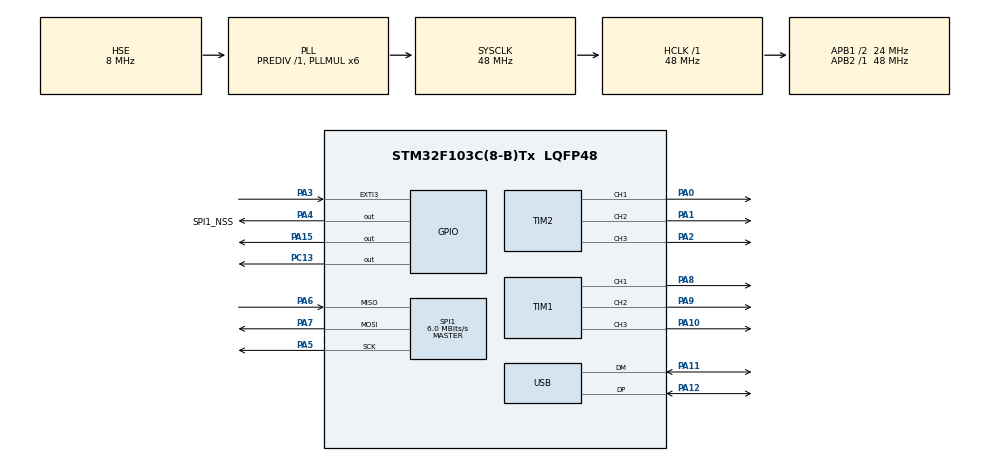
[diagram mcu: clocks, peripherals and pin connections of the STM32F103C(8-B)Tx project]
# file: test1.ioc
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Mcu.Family=STM32F1
Mcu.Name=STM32F103C(8-B)Tx
Mcu.Package=LQFP48
NVIC.EXTI3_IRQn=true\:0\:0\:false\:false\:true\:true\:true
NVIC.PriorityGroup=NVIC_PRIORITYGROUP_4
NVIC.TIM1_CC_IRQn=true\:0\:0\:false\:false\:true\:true\:true
NVIC.USB_LP_CAN1_RX0_IRQn=true\:0\:0\:false\:false\:true\:false\:true
PA0-WKUP.Signal=S_TIM2_CH1_ETR
PA1.Signal=S_TIM2_CH2
PA10.Signal=S_TIM1_CH3
PA11.Mode=Device
PA11.Signal=USB_DM
PA12.Mode=Device
PA12.Signal=USB_DP
PA13.Mode=Serial_Wire
PA13.Signal=SYS_JTMS-SWDIO
PA14.Mode=Serial_Wire
PA14.Signal=SYS_JTCK-SWCLK
PA15.Signal=GPIO_Output
PA2.Signal=S_TIM2_CH3
PA3.GPIO_PuPd=GPIO_PULLUP
PA3.Signal=GPXTI3
PA4.GPIO_Label=SPI1_NSS
PA4.PinState=GPIO_PIN_SET
PA4.Signal=GPIO_Output
PA5.Mode=Full_Duplex_Master
PA5.Signal=SPI1_SCK
PA6.Mode=Full_Duplex_Master
PA6.Signal=SPI1_MISO
PA7.Mode=Full_Duplex_Master
PA7.Signal=SPI1_MOSI
PA8.Signal=S_TIM1_CH1
PA9.Signal=S_TIM1_CH2
PC13-TAMPER-RTC.PinState=GPIO_PIN_SET
PC13-TAMPER-RTC.Signal=GPIO_Output
PD0-OSC_IN.Mode=HSE-External-Oscillator
PD0-OSC_IN.Signal=RCC_OSC_IN
PD1-OSC_OUT.Mode=HSE-External-Oscillator
PD1-OSC_OUT.Signal=RCC_OSC_OUT
ProjectManager.HeapSize=0x200
ProjectManager.StackSize=0x400
ProjectManager.TargetToolchain=STM32CubeIDE
RCC.AHBFreq_Value=48000000
RCC.APB1CLKDivider=RCC_HCLK_DIV2
RCC.APB1Freq_Value=24000000
RCC.APB1TimFreq_Value=48000000
RCC.APB2Freq_Value=48000000
RCC.APB2TimFreq_Value=48000000
RCC.HCLKFreq_Value=48000000
RCC.PLLMUL=RCC_PLL_MUL6
RCC.SYSCLKFreq_VALUE=48000000
RCC.SYSCLKSource=RCC_SYSCLKSOURCE_PLLCLK
RCC.USBFreq_Value=48000000
SH.S_TIM1_CH1.0=TIM1_CH1,PWM Generation1 CH1
SH.S_TIM1_CH2.0=TIM1_CH2,PWM Generation2 CH2
SH.S_TIM1_CH3.0=TIM1_CH3,PWM Generation3 CH3
SH.S_TIM2_CH1_ETR.0=TIM2_CH1,PWM Generation1 CH1
SH.S_TIM2_CH2.0=TIM2_CH2,PWM Generation2 CH2
SH.S_TIM2_CH3.0=TIM2_CH3,PWM Generation3 CH3
SPI1.BaudRatePrescaler=SPI_BAUDRATEPRESCALER_8
SPI1.CLKPhase=SPI_PHASE_2EDGE
SPI1.CLKPolarity=SPI_POLARITY_HIGH
SPI1.CRCCalculation=SPI_CRCCALCULATION_DISABLE
SPI1.CalculateBaudRate=6.0 MBits/s
SPI1.Direction=SPI_DIRECTION_2LINES
SPI1.Mode=SPI_MODE_MASTER
SPI1.VirtualType=VM_MASTER
TIM1.AutoReloadPreload=TIM_AUTORELOAD_PRELOAD_ENABLE
TIM1.Channel-PWM\ Generation1\ CH1=TIM_CHANNEL_1
TIM1.Channel-PWM\ Generation2\ CH2=TIM_CHANNEL_2
TIM1.Channel-PWM\ Generation3\ CH3=TIM_CHANNEL_3
TIM2.Channel-PWM\ Generation1\ CH1=TIM_CHANNEL_1
TIM2.Channel-PWM\ Generation2\ CH2=TIM_CHANNEL_2
TIM2.Channel-PWM\ Generation3\ CH3=TIM_CHANNEL_3
USB_DEVICE.CLASS_NAME_FS=CDC
USB_DEVICE.VirtualMode=Cdc
USB_DEVICE.VirtualModeFS=Cdc_FS
VP_TIM1_VS_ClockSourceINT.Mode=Internal
VP_TIM2_VS_ClockSourceINT.Mode=Internal
VP_USB_DEVICE_VS_USB_DEVICE_CDC_FS.Mode=CDC_FS
board=custom

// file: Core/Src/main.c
/* USER CODE BEGIN Header */
/**
  ******************************************************************************
  * @file           : main.c
  * @brief          : Main program body
  ******************************************************************************
  * @attention
  *
  * <h2><center>&copy; Copyright (c) 2022 STMicroelectronics.
  * All rights reserved.</center></h2>
  *
  * This software component is licensed by ST under BSD 3-Clause license,
  * the "License"; You may not use this file except in compliance with the
  * License. You may obtain a copy of the License at:
  *                        opensource.org/licenses/BSD-3-Clause
  *
  ******************************************************************************
  */
/* USER CODE END Header */
#include "main.h"
#include "usb_device.h"

SPI_HandleTypeDef hspi1;

TIM_HandleTypeDef htim1;
TIM_HandleTypeDef htim2;

void SystemClock_Config(void);
static void MX_GPIO_Init(void);
static void MX_TIM1_Init(void);
static void MX_TIM2_Init(void);
static void MX_SPI1_Init(void);

/* USER CODE BEGIN 0 */
static volatile uint16_t sine_lookup_table[] = {32767, 37043, 41247, 45306, 49150, 52714, 55936, 58762, 61144, 63039, 64417, 65253, 65534, 65253, 64417, 63039, 61144, 58762, 55936, 52714, 49150, 45306, 41247, 37043, 32767, 28490, 24286, 20227, 16383, 12819, 9597, 6771, 4389, 2494, 1116, 280, 0, 280, 1116, 2494, 4389, 6771, 9597, 12819, 16383, 20227, 24286, 28490};
static const volatile uint16_t sine_lookup_table_size = sizeof(sine_lookup_table)/sizeof(sine_lookup_table[0]);
static volatile uint16_t pwm_A_index, pwm_B_index, pwm_C_index;
static uint16_t _inc(uint16_t x, uint16_t max) {
	if(x < max) {
		return x+1;
	}
	return 0;
}
void HAL_TIM_PWM_PulseFinishedCallback(TIM_HandleTypeDef *htim) {
	if(htim == &htim1) {
		HAL_GPIO_WritePin(GPIOA, GPIO_PIN_15, GPIO_PIN_SET);
		if(htim->Channel == HAL_TIM_ACTIVE_CHANNEL_1) {
			HAL_GPIO_WritePin(GPIOA, GPIO_PIN_15, GPIO_PIN_RESET);
			HAL_GPIO_WritePin(GPIOA, GPIO_PIN_15, GPIO_PIN_SET);
			pwm_A_index = _inc(pwm_A_index, sine_lookup_table_size-1);
			TIM1->CCR1 = sine_lookup_table[pwm_A_index];
		}
		if(htim->Channel == HAL_TIM_ACTIVE_CHANNEL_2) {
			HAL_GPIO_WritePin(GPIOA, GPIO_PIN_15, GPIO_PIN_RESET);
			HAL_GPIO_WritePin(GPIOA, GPIO_PIN_15, GPIO_PIN_SET);
			HAL_GPIO_WritePin(GPIOA, GPIO_PIN_15, GPIO_PIN_RESET);
			HAL_GPIO_WritePin(GPIOA, GPIO_PIN_15, GPIO_PIN_SET);
			pwm_B_index = _inc(pwm_B_index, sine_lookup_table_size-1);
			TIM1->CCR2 = sine_lookup_table[pwm_B_index];
		}
		if(htim->Channel == HAL_TIM_ACTIVE_CHANNEL_3) {
			HAL_GPIO_WritePin(GPIOA, GPIO_PIN_15, GPIO_PIN_RESET);
			HAL_GPIO_WritePin(GPIOA, GPIO_PIN_15, GPIO_PIN_SET);
			HAL_GPIO_WritePin(GPIOA, GPIO_PIN_15, GPIO_PIN_RESET);
			HAL_GPIO_WritePin(GPIOA, GPIO_PIN_15, GPIO_PIN_SET);
			HAL_GPIO_WritePin(GPIOA, GPIO_PIN_15, GPIO_PIN_RESET);
			HAL_GPIO_WritePin(GPIOA, GPIO_PIN_15, GPIO_PIN_SET);
			pwm_C_index = _inc(pwm_C_index, sine_lookup_table_size-1);
			TIM1->CCR3 = sine_lookup_table[pwm_C_index];
		}
		HAL_GPIO_WritePin(GPIOA, GPIO_PIN_15, GPIO_PIN_RESET);
	}
}

void HAL_GPIO_EXTI_Callback(uint16_t GPIO_Pin) {
	asm("NOP");
}

#define COM_BUFFER_SIZE	(256)
static struct {
	uint8_t data[COM_BUFFER_SIZE];
	uint16_t wr_idx;
} com_buffer;

void com_clear_buffer(void) {
	com_buffer.wr_idx = 0;
}

#include "usbd_cdc_if.h"
void com_send_buffer(void) {
	if(com_buffer.wr_idx == 0) {
		// nothing to send
		return;
	}
	if(CDC_Transmit_FS(com_buffer.data, com_buffer.wr_idx) == 0) {
		// OK
		asm("NOP");
	}
}

uint32_t com_append_char(char c) {
	if(com_buffer.wr_idx < (COM_BUFFER_SIZE-2)) {
		com_buffer.data[com_buffer.wr_idx++] = c;
		return 1;
	}
	return 0;
}

void com_append_string(char *str) {
	char c;
	// copy string
	while(1) {
		c = *str++;
		if(c == '\0') {
			// found end, do not copy
			break;
		}
		if(com_append_char(c) == 0) {
			// buffer full, stop
			break;
		}
	}
}

void com_append_int16(int16_t value) {
	uint16_t digit_pos, use_char;
	int16_t digits[] = {10000, 1000, 100, 10, 1};
	uint8_t digit_value;
	use_char = 0;
	// sign
	if(value < 0) {
		value *= -1;
		if(com_append_char('-') == 0) {
			// buffer full, stop
			return;
		}
	}
	if(value == 0) {
		// only append '0', and done here
		com_append_char('0');
		return;
	}
	for(digit_pos = 0; digit_pos < (sizeof(digits)/sizeof(digits[0])); digit_pos++) {
		digit_value = (uint8_t)(value/digits[digit_pos]);
		if((digit_value != 0) || (use_char != 0)) {
			use_char = 1;
			if(com_append_char('0'+digit_value) == 0) {
				// buffer full, stop
				return;
			}
			value -= digit_value * digits[digit_pos];
		}
	}
}

void com_append_int32(int32_t value) {
	uint16_t digit_pos, use_char;
	int32_t digits[] = {1000000000, 100000000, 10000000, 1000000, 100000, 10000, 1000, 100, 10, 1};
	uint8_t digit_value;
	use_char = 0;
	// sign
	if(value < 0) {
		value *= -1;
		if(com_append_char('-') == 0) {
			// buffer full, stop
			return;
		}
	}
	if(value == 0) {
		// only append '0', and done here
		com_append_char('0');
		return;
	}
	for(digit_pos = 0; digit_pos < (sizeof(digits)/sizeof(digits[0])); digit_pos++) {
		digit_value = (uint8_t)(value/digits[digit_pos]);
		if((digit_value != 0) || (use_char != 0)) {
			use_char = 1;
			if(com_append_char('0'+digit_value) == 0) {
				// buffer full, stop
				return;
			}
			value -= digit_value * digits[digit_pos];
		}
	}
}

void com_append_float(float f, uint32_t nb_dec_places) {
	int32_t x;

	x = (int32_t)f;
	com_append_int32(x);

	if(nb_dec_places == 0) {
		// do not add any decimal places
		return;

	}
	if(nb_dec_places >= 9) {
		// max is 9
		nb_dec_places = 9;
	}

	f -= (float)x;
	if(f < 0.0f) {
		f *= -1;
	}
	com_append_char('.');
	// eval nb leading '0' of part after '.'
	for(uint16_t n = 0; n < nb_dec_places; n++) {
		f *= 10;
		x = (uint8_t)f;
		f -= (float)x;
		com_append_char('0'+x);
	}
}

void _wait_some_time(void) {
		asm("NOP");
	for(uint32_t cnt = 100000; cnt; cnt--) {
	}
}

#define READ_CMD  (0x80)
#define WRITE_CMD (0x00)
void mpu9250_read_who_am_i(void) {
  uint8_t tx_data[1+1] = {READ_CMD|117};
  uint8_t rx_data[sizeof(tx_data)];
  HAL_GPIO_WritePin(SPI1_NSS_GPIO_Port, SPI1_NSS_Pin, GPIO_PIN_RESET);
  HAL_SPI_TransmitReceive(&hspi1, tx_data, rx_data, sizeof(tx_data), 10000);
  HAL_GPIO_WritePin(SPI1_NSS_GPIO_Port, SPI1_NSS_Pin, GPIO_PIN_SET);
}

void mpu9250_read_config(void) {
  uint8_t tx_data[1+7] = {READ_CMD|26};
  uint8_t rx_data[sizeof(tx_data)];
  HAL_GPIO_WritePin(SPI1_NSS_GPIO_Port, SPI1_NSS_Pin, GPIO_PIN_RESET);
  HAL_SPI_TransmitReceive(&hspi1, tx_data, rx_data, sizeof(tx_data), 10000);
  HAL_GPIO_WritePin(SPI1_NSS_GPIO_Port, SPI1_NSS_Pin, GPIO_PIN_SET);
}

void mpu9250_write_config(void) {
  uint8_t tx_data[] = {WRITE_CMD|26, 0x00, 0x00, (0x03<<2), 0x00, 0x00, 0x00};
  uint8_t rx_data[sizeof(tx_data)];
  HAL_GPIO_WritePin(SPI1_NSS_GPIO_Port, SPI1_NSS_Pin, GPIO_PIN_RESET);
  HAL_SPI_TransmitReceive(&hspi1, tx_data, rx_data, sizeof(tx_data), 10000);
  HAL_GPIO_WritePin(SPI1_NSS_GPIO_Port, SPI1_NSS_Pin, GPIO_PIN_SET);
}

void mpu9250_read_int_config(void) {
  uint8_t tx_data[1+4] = {READ_CMD|55};
  uint8_t rx_data[sizeof(tx_data)];
  HAL_GPIO_WritePin(SPI1_NSS_GPIO_Port, SPI1_NSS_Pin, GPIO_PIN_RESET);
  HAL_SPI_TransmitReceive(&hspi1, tx_data, rx_data, sizeof(tx_data), 10000);
  HAL_GPIO_WritePin(SPI1_NSS_GPIO_Port, SPI1_NSS_Pin, GPIO_PIN_SET);
}

void mpu9250_write_int_config(void) {
  uint8_t tx_data[] = {WRITE_CMD|55, 0xF0, 0x00, 0x00, 0x00};
  uint8_t rx_data[sizeof(tx_data)];
  HAL_GPIO_WritePin(SPI1_NSS_GPIO_Port, SPI1_NSS_Pin, GPIO_PIN_RESET);
  HAL_SPI_TransmitReceive(&hspi1, tx_data, rx_data, sizeof(tx_data), 10000);
  HAL_GPIO_WritePin(SPI1_NSS_GPIO_Port, SPI1_NSS_Pin, GPIO_PIN_SET);
}

uint16_t mpu9250_read_sensor_data(uint8_t *rx_data) {
  uint8_t tx_data[1+3*2+1*2+3*2] = {READ_CMD|59};
  //uint8_t rx_data[sizeof(tx_data)];
  HAL_GPIO_WritePin(SPI1_NSS_GPIO_Port, SPI1_NSS_Pin, GPIO_PIN_RESET);
  HAL_SPI_TransmitReceive(&hspi1, tx_data, rx_data, sizeof(tx_data), 10000);
  HAL_GPIO_WritePin(SPI1_NSS_GPIO_Port, SPI1_NSS_Pin, GPIO_PIN_SET);
  return sizeof(tx_data);
}

uint16_t mpu9250_read_acc_data(uint8_t *rx_data) {
  uint8_t tx_data[1+3*2] = {READ_CMD|59};
  //uint8_t rx_data[sizeof(tx_data)];
  HAL_GPIO_WritePin(SPI1_NSS_GPIO_Port, SPI1_NSS_Pin, GPIO_PIN_RESET);
  HAL_SPI_TransmitReceive(&hspi1, tx_data, rx_data, sizeof(tx_data), 10000);
  HAL_GPIO_WritePin(SPI1_NSS_GPIO_Port, SPI1_NSS_Pin, GPIO_PIN_SET);
  return sizeof(tx_data);
}

uint16_t mpu9250_read_temp_data(uint8_t *rx_data) {
  uint8_t tx_data[1+2] = {READ_CMD|65};
  //uint8_t rx_data[sizeof(tx_data)];
  HAL_GPIO_WritePin(SPI1_NSS_GPIO_Port, SPI1_NSS_Pin, GPIO_PIN_RESET);
  HAL_SPI_TransmitReceive(&hspi1, tx_data, rx_data, sizeof(tx_data), 10000);
  HAL_GPIO_WritePin(SPI1_NSS_GPIO_Port, SPI1_NSS_Pin, GPIO_PIN_SET);
  return sizeof(tx_data);
}

uint16_t mpu9250_read_gyro_data(uint8_t *rx_data) {
  uint8_t tx_data[1+3*2] = {READ_CMD|67};
  //uint8_t rx_data[sizeof(tx_data)];
  HAL_GPIO_WritePin(SPI1_NSS_GPIO_Port, SPI1_NSS_Pin, GPIO_PIN_RESET);
  HAL_SPI_TransmitReceive(&hspi1, tx_data, rx_data, sizeof(tx_data), 10000);
  HAL_GPIO_WritePin(SPI1_NSS_GPIO_Port, SPI1_NSS_Pin, GPIO_PIN_SET);
  return sizeof(tx_data);
}

/* MPU9250
1g = 16384 (2^14)
Accelerometer Umschlagsmessung Mittelwerte
2022-09-09, Martin Egli
angle	alpha	acc x	acc y	acc z
0	90	-116.95652173913	16533.1304347826	2896.86956521739
90	0	16381.9047619048	319.619047619048	2813.42857142857
180	-90	259	-16190.7777777778	2529.44444444444
270	-180	-16359.6470588235	-9.76470588235294	5139.17647058824

Gyro, Mittelwerte in Ruhe
gyro x	gyro y	gyro z
-249.254681220314	-99.6965046888321	-266.373261985954
 */
const float acc_1g = 16384.0f;
const float acc_meas_x_1g[] = {16381.9047619048f, -16359.6470588235f};
const float acc_meas_y_1g[] = {16533.1304347826f, -16190.7777777778f};
const float gyr_meas_z_0 = -266.373261985954f;

typedef struct {
	float gain, offset;
} gain_offset_t;

struct {
	gain_offset_t x;
	gain_offset_t y;
} mpu9250_corr_acc;
float acc_xy_angle_deg_corr = -90.0f;

float mpu9250_calc_acc(int16_t value, gain_offset_t *corr) {
	return corr->gain * (float)value + corr->offset;
}
#include <math.h>
float acc_to_alpha_rad(float x, float y) {
	return atan2((double)x, (double)y);
}
float rad_to_deg(float a_rad) {
	return a_rad * 180.0f / M_PI;
}

struct {
	float x, y;
} acc_values;
float acc_xy_angle_deg;
float gyr_z_angle_deg;
float angle_deg, angle_deg_prev;

#define SEP_SERIAL_PLOTTER ' ' // better serial plotter uses ' ' (space)
#define SEP SEP_SERIAL_PLOTTER
/* USER CODE END 0 */

int main(void)
{
  /* USER CODE BEGIN 1 */
	// calc correction values for acc_x, acc_y
	mpu9250_corr_acc.x.gain    = (2*acc_1g)/(acc_meas_x_1g[0] - acc_meas_x_1g[1]); // a = dy/dx
	mpu9250_corr_acc.x.offset = acc_1g - mpu9250_corr_acc.x.gain*acc_meas_x_1g[0]; // b = y0 - a*x0

	mpu9250_corr_acc.y.gain    = (2*acc_1g)/(acc_meas_y_1g[0] - acc_meas_y_1g[1]); // a = dy/dx
	mpu9250_corr_acc.y.offset = acc_1g - mpu9250_corr_acc.y.gain*acc_meas_y_1g[0]; // b = y0 - a*x0

  /* USER CODE END 1 */

  /* MCU Configuration--------------------------------------------------------*/

  /* Reset of all peripherals, Initializes the Flash interface and the Systick. */
  HAL_Init();

  /* Configure the system clock */
  SystemClock_Config();

  /* Initialize all configured peripherals */
  MX_GPIO_Init();
  MX_TIM1_Init();
  MX_TIM2_Init();
  MX_USB_DEVICE_Init();
  MX_SPI1_Init();
  /* USER CODE BEGIN 2 */

  mpu9250_read_who_am_i();
  mpu9250_read_config();
  mpu9250_write_config();
  mpu9250_read_int_config();

  asm("NOP");
  /* USER CODE END 2 */

  /* Infinite loop */
  /* USER CODE BEGIN WHILE */
  uint8_t sensor_data[32];
  int16_t value;
  com_clear_buffer();
  com_append_string("acc x, acc y, acc z, gyro x, gyro y, gyro z, temp\n");
  com_send_buffer();
  angle_deg_prev = 0.0f;
  while (1)
  {
    /* USER CODE END WHILE */

    /* USER CODE BEGIN 3 */
	  com_clear_buffer();
	  mpu9250_read_sensor_data(sensor_data);
	  // acc
	  value = (int16_t)((sensor_data[1] << 8) + sensor_data[2]); // acc x
	  acc_values.x = mpu9250_calc_acc(value, &mpu9250_corr_acc.x);
	  //com_append_int16(value);
	  //com_append_char(',');
	  value = (int16_t)((sensor_data[3] << 8) + sensor_data[4]); // acc y
	  acc_values.y = mpu9250_calc_acc(value, &mpu9250_corr_acc.y);
	  //com_append_int16(value);
	  //com_append_char(SEP);
	  value = (int16_t)((sensor_data[5] << 8) + sensor_data[6]); // acc z
	  //com_append_int16(value);
	  //com_append_char(SEP);

	  // gyro
	  value = (int16_t)((sensor_data[9] << 8) + sensor_data[10]); // gyro x
	  //com_append_int16(value);
	  //com_append_char(SEP);
	  value = (int16_t)((sensor_data[11] << 8) + sensor_data[12]); // gyro y
	  //com_append_int16(value);
	  //com_append_char(SEP);
	  value = (int16_t)((sensor_data[13] << 8) + sensor_data[14]); // gyro z
	  //com_append_int16(value);
	  //com_append_char(SEP);

	  //float gyr_sample_rate = 0.260; // 260 ms
	  //float gyr_z_rate_deg;

	  gyr_z_angle_deg = (float)value; // RATE! in deg/s -> * s -> deg
	  gyr_z_angle_deg -= gyr_meas_z_0;
	  gyr_z_angle_deg *= (250.0f/32768.0f); // scale to +/-250 dps
	  gyr_z_angle_deg = gyr_z_angle_deg * 0.02685f;
	  com_append_float(gyr_z_angle_deg, 5);
	  com_append_char(SEP);

	  //com_append_float(acc_values.x, 5);
	  //com_append_char(SEP);

	  //com_append_float(acc_values.y, 5);
	  //com_append_char(SEP);

		acc_xy_angle_deg = acc_to_alpha_rad(acc_values.x, acc_values.y);
		acc_xy_angle_deg = rad_to_deg(acc_xy_angle_deg);
		acc_xy_angle_deg += acc_xy_angle_deg_corr;

		com_append_float(acc_xy_angle_deg, 5);
		com_append_char(SEP);

		// dragon bot
		//angle_deg = 0.9934f * (angle_deg_prev + gyr_z_angle_deg) + 0.0066f * acc_xy_angle_deg;

		angle_deg = 0.95f * (angle_deg_prev + gyr_z_angle_deg) + 0.05f * acc_xy_angle_deg;

		com_append_float(angle_deg, 5);
		com_append_char(SEP);

		angle_deg_prev = angle_deg;

	  // temp
	  value = (int16_t)((sensor_data[7] << 8) + sensor_data[8]); // temp
	  com_append_int16(value);
	  com_append_char('\n');

	  com_send_buffer();
	  _wait_some_time();
  }
  /* USER CODE END 3 */
}

void SystemClock_Config(void)
{
  RCC_OscInitTypeDef RCC_OscInitStruct = {0};
  RCC_ClkInitTypeDef RCC_ClkInitStruct = {0};
  RCC_PeriphCLKInitTypeDef PeriphClkInit = {0};

  /** Initializes the RCC Oscillators according to the specified parameters
  * in the RCC_OscInitTypeDef structure.
  */
  RCC_OscInitStruct.OscillatorType = RCC_OSCILLATORTYPE_HSE;
  RCC_OscInitStruct.HSEState = RCC_HSE_ON;
  RCC_OscInitStruct.HSEPredivValue = RCC_HSE_PREDIV_DIV1;
  RCC_OscInitStruct.HSIState = RCC_HSI_ON;
  RCC_OscInitStruct.PLL.PLLState = RCC_PLL_ON;
  RCC_OscInitStruct.PLL.PLLSource = RCC_PLLSOURCE_HSE;
  RCC_OscInitStruct.PLL.PLLMUL = RCC_PLL_MUL6;
  if (HAL_RCC_OscConfig(&RCC_OscInitStruct) != HAL_OK)
  {
    Error_Handler();
  }
  /** Initializes the CPU, AHB and APB buses clocks
  */
  RCC_ClkInitStruct.ClockType = RCC_CLOCKTYPE_HCLK|RCC_CLOCKTYPE_SYSCLK
                              |RCC_CLOCKTYPE_PCLK1|RCC_CLOCKTYPE_PCLK2;
  RCC_ClkInitStruct.SYSCLKSource = RCC_SYSCLKSOURCE_PLLCLK;
  RCC_ClkInitStruct.AHBCLKDivider = RCC_SYSCLK_DIV1;
  RCC_ClkInitStruct.APB1CLKDivider = RCC_HCLK_DIV2;
  RCC_ClkInitStruct.APB2CLKDivider = RCC_HCLK_DIV1;

  if (HAL_RCC_ClockConfig(&RCC_ClkInitStruct, FLASH_LATENCY_1) != HAL_OK)
  {
    Error_Handler();
  }
  PeriphClkInit.PeriphClockSelection = RCC_PERIPHCLK_USB;
  PeriphClkInit.UsbClockSelection = RCC_USBCLKSOURCE_PLL;
  if (HAL_RCCEx_PeriphCLKConfig(&PeriphClkInit) != HAL_OK)
  {
    Error_Handler();
  }
}

static void MX_SPI1_Init(void)
{

  /* SPI1 parameter configuration*/
  hspi1.Instance = SPI1;
  hspi1.Init.Mode = SPI_MODE_MASTER;
  hspi1.Init.Direction = SPI_DIRECTION_2LINES;
  hspi1.Init.DataSize = SPI_DATASIZE_8BIT;
  hspi1.Init.CLKPolarity = SPI_POLARITY_HIGH;
  hspi1.Init.CLKPhase = SPI_PHASE_2EDGE;
  hspi1.Init.NSS = SPI_NSS_SOFT;
  hspi1.Init.BaudRatePrescaler = SPI_BAUDRATEPRESCALER_64; // SPI_BAUDRATEPRESCALER_8; // -> 3 MHz
  hspi1.Init.FirstBit = SPI_FIRSTBIT_MSB;
  hspi1.Init.TIMode = SPI_TIMODE_DISABLE;
  hspi1.Init.CRCCalculation = SPI_CRCCALCULATION_DISABLE;
  hspi1.Init.CRCPolynomial = 10;
  if (HAL_SPI_Init(&hspi1) != HAL_OK)
  {
    Error_Handler();
  }

}

static void MX_TIM1_Init(void)
{

  TIM_ClockConfigTypeDef sClockSourceConfig = {0};
  TIM_MasterConfigTypeDef sMasterConfig = {0};
  TIM_OC_InitTypeDef sConfigOC = {0};
  TIM_BreakDeadTimeConfigTypeDef sBreakDeadTimeConfig = {0};

  htim1.Instance = TIM1;
  htim1.Init.Prescaler = 0;
  htim1.Init.CounterMode = TIM_COUNTERMODE_UP;
  htim1.Init.Period = 65535;
  htim1.Init.ClockDivision = TIM_CLOCKDIVISION_DIV1;
  htim1.Init.RepetitionCounter = 0;
  htim1.Init.AutoReloadPreload = TIM_AUTORELOAD_PRELOAD_ENABLE;
  if (HAL_TIM_Base_Init(&htim1) != HAL_OK)
  {
    Error_Handler();
  }
  sClockSourceConfig.ClockSource = TIM_CLOCKSOURCE_INTERNAL;
  if (HAL_TIM_ConfigClockSource(&htim1, &sClockSourceConfig) != HAL_OK)
  {
    Error_Handler();
  }
  if (HAL_TIM_PWM_Init(&htim1) != HAL_OK)
  {
    Error_Handler();
  }
  sMasterConfig.MasterOutputTrigger = TIM_TRGO_RESET;
  sMasterConfig.MasterSlaveMode = TIM_MASTERSLAVEMODE_DISABLE;
  if (HAL_TIMEx_MasterConfigSynchronization(&htim1, &sMasterConfig) != HAL_OK)
  {
    Error_Handler();
  }
  sConfigOC.OCMode = TIM_OCMODE_PWM1;
  sConfigOC.Pulse = 0;
  sConfigOC.OCPolarity = TIM_OCPOLARITY_HIGH;
  sConfigOC.OCNPolarity = TIM_OCNPOLARITY_HIGH;
  sConfigOC.OCFastMode = TIM_OCFAST_DISABLE;
  sConfigOC.OCIdleState = TIM_OCIDLESTATE_RESET;
  sConfigOC.OCNIdleState = TIM_OCNIDLESTATE_RESET;
  if (HAL_TIM_PWM_ConfigChannel(&htim1, &sConfigOC, TIM_CHANNEL_1) != HAL_OK)
  {
    Error_Handler();
  }
  if (HAL_TIM_PWM_ConfigChannel(&htim1, &sConfigOC, TIM_CHANNEL_2) != HAL_OK)
  {
    Error_Handler();
  }
  if (HAL_TIM_PWM_ConfigChannel(&htim1, &sConfigOC, TIM_CHANNEL_3) != HAL_OK)
  {
    Error_Handler();
  }
  sBreakDeadTimeConfig.OffStateRunMode = TIM_OSSR_DISABLE;
  sBreakDeadTimeConfig.OffStateIDLEMode = TIM_OSSI_DISABLE;
  sBreakDeadTimeConfig.LockLevel = TIM_LOCKLEVEL_OFF;
  sBreakDeadTimeConfig.DeadTime = 0;
  sBreakDeadTimeConfig.BreakState = TIM_BREAK_DISABLE;
  sBreakDeadTimeConfig.BreakPolarity = TIM_BREAKPOLARITY_HIGH;
  sBreakDeadTimeConfig.AutomaticOutput = TIM_AUTOMATICOUTPUT_DISABLE;
  if (HAL_TIMEx_ConfigBreakDeadTime(&htim1, &sBreakDeadTimeConfig) != HAL_OK)
  {
    Error_Handler();
  }
  /* USER CODE BEGIN TIM1_Init 2 */
  HAL_GPIO_WritePin(GPIOA, GPIO_PIN_15, GPIO_PIN_SET);
  HAL_GPIO_WritePin(GPIOA, GPIO_PIN_15, GPIO_PIN_RESET);
  HAL_GPIO_WritePin(GPIOA, GPIO_PIN_15, GPIO_PIN_SET);
  HAL_NVIC_SetPriority(TIM1_UP_IRQn, 0, 1);
  HAL_NVIC_EnableIRQ(TIM1_UP_IRQn);
  //HAL_TIM_RegisterCallback(&htim1, HAL_TIM_PWM_PULSE_FINISHED_HALF_CB_ID, pwm_update_callback);
  pwm_A_index = 0;
  pwm_B_index = 16;
  pwm_C_index = 32;
  TIM1->CCR1 = sine_lookup_table[pwm_A_index];
  TIM1->CCR2 = sine_lookup_table[pwm_B_index];
  TIM1->CCR3 = sine_lookup_table[pwm_C_index];
  HAL_TIM_PWM_Start_IT(&htim1, TIM_CHANNEL_1);
  HAL_TIM_PWM_Start_IT(&htim1, TIM_CHANNEL_2);
  HAL_TIM_PWM_Start_IT(&htim1, TIM_CHANNEL_3);
  HAL_GPIO_WritePin(GPIOA, GPIO_PIN_15, GPIO_PIN_RESET);
  /* USER CODE END TIM1_Init 2 */
  HAL_TIM_MspPostInit(&htim1);

}

static void MX_TIM2_Init(void)
{

  TIM_ClockConfigTypeDef sClockSourceConfig = {0};
  TIM_MasterConfigTypeDef sMasterConfig = {0};
  TIM_OC_InitTypeDef sConfigOC = {0};

  htim2.Instance = TIM2;
  htim2.Init.Prescaler = 0;
  htim2.Init.CounterMode = TIM_COUNTERMODE_UP;
  htim2.Init.Period = 65535;
  htim2.Init.ClockDivision = TIM_CLOCKDIVISION_DIV1;
  htim2.Init.AutoReloadPreload = TIM_AUTORELOAD_PRELOAD_DISABLE;
  if (HAL_TIM_Base_Init(&htim2) != HAL_OK)
  {
    Error_Handler();
  }
  sClockSourceConfig.ClockSource = TIM_CLOCKSOURCE_INTERNAL;
  if (HAL_TIM_ConfigClockSource(&htim2, &sClockSourceConfig) != HAL_OK)
  {
    Error_Handler();
  }
  if (HAL_TIM_PWM_Init(&htim2) != HAL_OK)
  {
    Error_Handler();
  }
  sMasterConfig.MasterOutputTrigger = TIM_TRGO_RESET;
  sMasterConfig.MasterSlaveMode = TIM_MASTERSLAVEMODE_DISABLE;
  if (HAL_TIMEx_MasterConfigSynchronization(&htim2, &sMasterConfig) != HAL_OK)
  {
    Error_Handler();
  }
  sConfigOC.OCMode = TIM_OCMODE_PWM1;
  sConfigOC.Pulse = 0;
  sConfigOC.OCPolarity = TIM_OCPOLARITY_HIGH;
  sConfigOC.OCFastMode = TIM_OCFAST_DISABLE;
  if (HAL_TIM_PWM_ConfigChannel(&htim2, &sConfigOC, TIM_CHANNEL_1) != HAL_OK)
  {
    Error_Handler();
  }
  if (HAL_TIM_PWM_ConfigChannel(&htim2, &sConfigOC, TIM_CHANNEL_2) != HAL_OK)
  {
    Error_Handler();
  }
  if (HAL_TIM_PWM_ConfigChannel(&htim2, &sConfigOC, TIM_CHANNEL_3) != HAL_OK)
  {
    Error_Handler();
  }
  HAL_TIM_MspPostInit(&htim2);

}

static void MX_GPIO_Init(void)
{
  GPIO_InitTypeDef GPIO_InitStruct = {0};

  /* GPIO Ports Clock Enable */
  __HAL_RCC_GPIOC_CLK_ENABLE();
  __HAL_RCC_GPIOD_CLK_ENABLE();
  __HAL_RCC_GPIOA_CLK_ENABLE();

  /*Configure GPIO pin Output Level */
  HAL_GPIO_WritePin(GPIOC, GPIO_PIN_13, GPIO_PIN_SET);

  /*Configure GPIO pin Output Level */
  HAL_GPIO_WritePin(SPI1_NSS_GPIO_Port, SPI1_NSS_Pin, GPIO_PIN_SET);

  /*Configure GPIO pin Output Level */
  HAL_GPIO_WritePin(GPIOA, GPIO_PIN_15, GPIO_PIN_RESET);

  /*Configure GPIO pin : PC13 */
  GPIO_InitStruct.Pin = GPIO_PIN_13;
  GPIO_InitStruct.Mode = GPIO_MODE_OUTPUT_PP;
  GPIO_InitStruct.Pull = GPIO_NOPULL;
  GPIO_InitStruct.Speed = GPIO_SPEED_FREQ_LOW;
  HAL_GPIO_Init(GPIOC, &GPIO_InitStruct);

  /*Configure GPIO pin : PA3 */
  GPIO_InitStruct.Pin = GPIO_PIN_3;
  GPIO_InitStruct.Mode = GPIO_MODE_IT_RISING;
  GPIO_InitStruct.Pull = GPIO_PULLUP;
  HAL_GPIO_Init(GPIOA, &GPIO_InitStruct);

  /*Configure GPIO pins : SPI1_NSS_Pin PA15 */
  GPIO_InitStruct.Pin = SPI1_NSS_Pin|GPIO_PIN_15;
  GPIO_InitStruct.Mode = GPIO_MODE_OUTPUT_PP;
  GPIO_InitStruct.Pull = GPIO_NOPULL;
  GPIO_InitStruct.Speed = GPIO_SPEED_FREQ_LOW;
  HAL_GPIO_Init(GPIOA, &GPIO_InitStruct);

  /* EXTI interrupt init*/
  HAL_NVIC_SetPriority(EXTI3_IRQn, 0, 0);
  HAL_NVIC_EnableIRQ(EXTI3_IRQn);

}

void Error_Handler(void)
{
}

/************************ (C) COPYRIGHT STMicroelectronics *****END OF FILE****/
